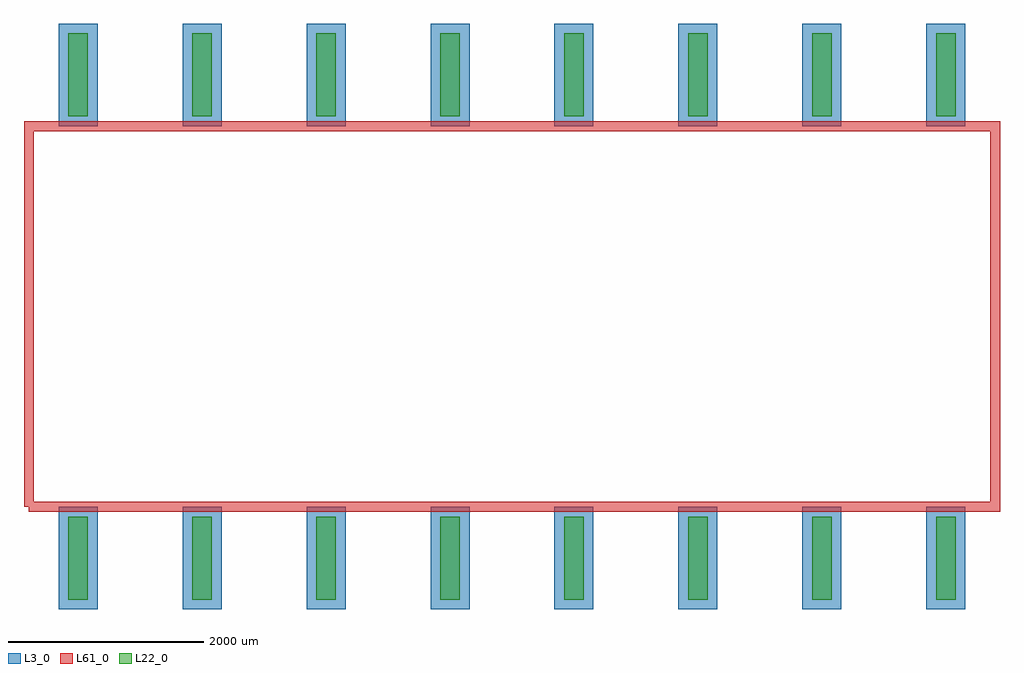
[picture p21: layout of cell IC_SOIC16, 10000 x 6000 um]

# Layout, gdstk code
import gdstk
lib = gdstk.Library(unit=1e-6, precision=1e-09)
def R(c, l, rs):  # rectangles x0, y0, x1, y1
    for r in rs: c.add(gdstk.rectangle(r[:2], r[2:], *l))
def A(c, l, x, y, w, h, nx, ny, dx, dy):  # array of equal rectangles
    R(c, l, [(x+i*dx, y+j*dy, x+i*dx+w, y+j*dy+h) for i in range(nx) for j in range(ny)])
L3_0 = (3, 0)
L22_0 = (22, 0)
L61_0 = (61, 0)

ic_soic16 = lib.new_cell('IC_SOIC16')
A(ic_soic16, L3_0, -4645, -3000, 400, 1050, 8, 2, 1270, 4950)
A(ic_soic16, L22_0, -4545, -2900, 200, 850, 8, 2, 1270, 4950)
ic_soic16.add(gdstk.FlexPath([(-4950,-1950),(4950,-1950),(4950,1950),(-4950,1950),(-4950,-1950)], 100, ends="flush", simple_path=True, layer=61, datatype=0))  # L61_0

lib.write_gds('IC_SOIC16.gds')
